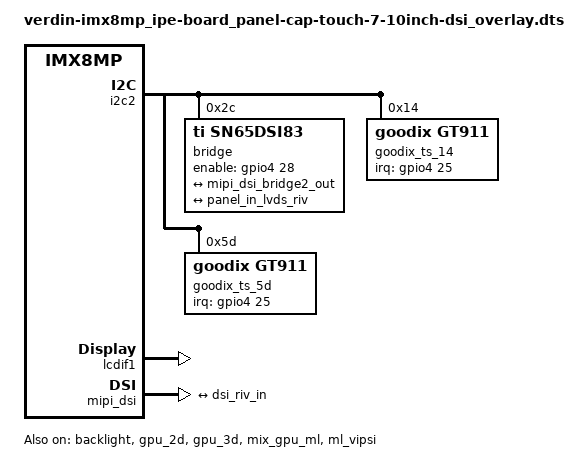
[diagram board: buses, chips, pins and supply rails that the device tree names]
// SPDX-License-Identifier: MIT
/*
 * Verdin iMX8MP overlay - MIPI-DSI Displays from HTMG
 * Display Models GBExxxWSH02CE: 
 * 	- TDO GBE070WSH02CE 7" 1024x600 MIPI-DSI
 *	- TDO GBE101WSH02CE 10.1" 1024x600 MIPI-DSI
 *
 * Touchscreen capacitive: Goodix GT911
 * 
 * Carrier Board: Ipê Carrier Board
 * Kernel 5.x (TorizonOS 6.x)
 * 
 * Witte Technology LTDA - https://wittetech.com/
 */

/dts-v1/;
/plugin/;

/ {
	compatible = "toradex,verdin-imx8mp";
};

#include <dt-bindings/interrupt-controller/arm-gic.h>
#include <dt-bindings/gpio/gpio.h>
#include "display-tdo-ts070wsh02ce_overlay.dtsi"
#include <dt-bindings/../../arch/arm64/boot/dts/freescale/imx8mp-pinfunc.h>

&backlight {
	pwms = <&pwm3 0 6666667 0>;
	brightness-levels = <0 4 8 14 22 32 45 60 78 100 125 153 185 220 255>;
	default-brightness-level = <14>;
	status = "okay";
};

&gpu_2d {
	status = "okay";
};

&gpu_3d {
	status = "okay";
};

/* Verdin I2C_2_DSI */
&i2c2 {
	#address-cells = <1>;
	#size-cells = <0>;
	status = "okay";

	bridge@2c {
		compatible = "ti,sn65dsi83";
		reg = <0x2c>;
		/* IRQ not connected */
		/* Verdin GPIO_10_DSI (SODIMM 21) */
		enable-gpios = <&gpio4 28 GPIO_ACTIVE_HIGH>;
		pinctrl-names = "default";
		pinctrl-0 = <&pinctrl_gpio_10_dsi>;

		ports {
			#address-cells = <1>;
			#size-cells = <0>;

			port@0 {
				reg = <0>;

				dsi_riv_in: endpoint {
					data-lanes = <1 2 3 4>;
					remote-endpoint = <&mipi_dsi_bridge2_out>;
				};
			};

			port@2 {
				reg = <2>;

				lvds_out_panel_riv: endpoint {
					remote-endpoint = <&panel_in_lvds_riv>;
				};
			};
		};
	};

    /* Goodix GT911 controller touchscreen */
    goodix_ts_14: gt911@14 {
        compatible = "goodix,gt911";
        reg = <0x14>;
		/* Verdin DSI_1_INT# (TOUCH_INT#, SODIMM 17) */
		interrupt-parent = <&gpio4>;
		interrupts = <25 IRQ_TYPE_EDGE_FALLING>;
		pinctrl-names = "default";
		pinctrl-0 = <&pinctrl_gpio_9_dsi>;
		status = "okay";
    };

	/* Goodix GT911 controller touchscreen */
    goodix_ts_5d: gt911@5d {
        compatible = "goodix,gt911";
        reg = <0x5d>;
		/* Verdin DSI_1_INT# (TOUCH_INT#, SODIMM 17) */
		interrupt-parent = <&gpio4>;
		interrupts = <25 IRQ_TYPE_EDGE_FALLING>;
		pinctrl-names = "default";
		pinctrl-0 = <&pinctrl_gpio_9_dsi>;
		status = "okay";
    };
};

/* LCDIF to MIPI-DSI */
&lcdif1 {
	status = "okay";
};

&mipi_dsi {
	#address-cells = <1>;
	#size-cells = <0>;
	status = "okay";

	port@1 {
		mipi_dsi_bridge2_out: endpoint {
			attach-bridge;
			remote-endpoint = <&dsi_riv_in>;
		};
	};
};

&mix_gpu_ml {
	status = "okay";
};

&ml_vipsi {
	status = "okay";
};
